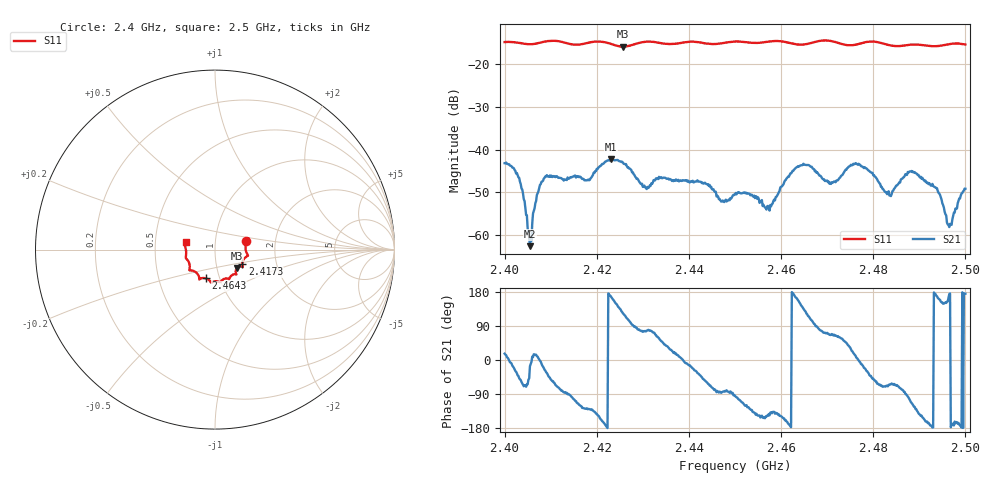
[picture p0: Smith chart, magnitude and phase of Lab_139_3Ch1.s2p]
# Hz S RI R 50
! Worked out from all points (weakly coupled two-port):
!   601 points, 2.4 GHz to 2.5 GHz, reference 50 ohm
!   highest |S21| = -42.28 dB at 2.4232 GHz (marker M1); lowest = -62.5 dB at 2.4055 GHz (marker M2)
!   lowest |S11| = -16.0 dB at 2.4257 GHz (marker M3), VSWR 1.38, Z = 62.4 - j13.1 ohm
!   |S11| at or under -10 dB: start of sweep to end of sweep
!   S12 and S22 are empty: the file has one direction only
!   S11 on the Smith chart (normalised r, x): 2.4 GHz: 1.41, +0.15; 2.4173 GHz: 1.34, -0.23; 2.4643 GHz: 0.86, -0.28; 2.5 GHz: 0.72, +0.06
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2.4e9  0.1734 0.0498  0.00665 0.002  0 0  0 0
2.403167e9  0.1733 0.0337  0.00311 -0.00349  0 0  0 0
2.4055e9  0.1701 0.00718  0.000717 -0.00021  0 0  0 0
2.407167e9  0.1742 -0.0126  0.00306 0.000481  0 0  0 0
2.408667e9  0.1805 -0.0263  0.00423 -0.00204  0 0  0 0
2.416667e9  0.1528 -0.0745  -0.00248 -0.00395  0 0  0 0
2.417333e9  0.1523 -0.082  -0.00269 -0.00346  0 0  0 0
2.423167e9  0.1438 -0.0934  -0.00746 0.00187  0 0  0 0
2.425667e9  0.1224 -0.1021  -0.0039 0.00591  0 0  0 0
2.4305e9  0.119 -0.1372  0.000842 0.00352  0 0  0 0
2.433333e9  0.1129 -0.137  0.0023 0.00391  0 0  0 0
2.45e9  0.0295 -0.1809  -0.000218 -0.00299  0 0  0 0
2.457333e9  -0.0154 -0.1821  -0.00169 -0.00129  0 0  0 0
2.464333e9  -0.0504 -0.1603  -0.00532 0.00384  0 0  0 0
2.466667e9  -0.0763 -0.1597  -0.00157 0.00611  0 0  0 0
2.471e9  -0.087 -0.1632  0.00152 0.00388  0 0  0 0
2.476667e9  -0.1235 -0.1176  0.00666 0.000196  0 0  0 0
2.483333e9  -0.1408 -0.0894  0.00131 -0.003  0 0  0 0
2.488833e9  -0.1622 -0.0471  -0.00296 -0.00453  0 0  0 0
2.494e9  -0.1621 -0.00124  -0.00317 0.000908  0 0  0 0
2.4965e9  -0.1691 0.0235  -0.00124 0.000145  0 0  0 0
2.5e9  -0.1635 0.0421  -0.00349 0.000308  0 0  0 0
